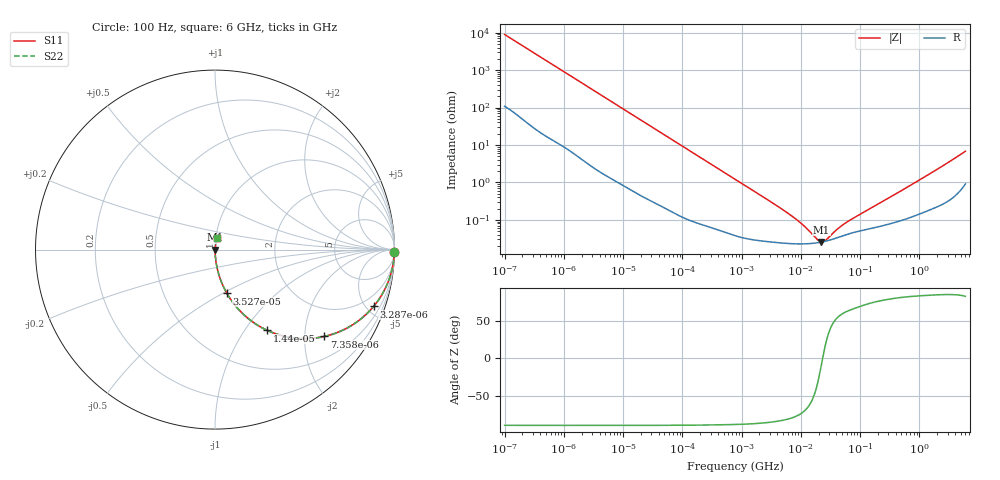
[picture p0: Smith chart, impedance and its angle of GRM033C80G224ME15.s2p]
!Murata Part Number: GRM033C80G224ME15
!These Parameters are Measured in Series Mode Connection
!Data Generated on Mar 30, 2021
!  o--ll--o
!Port1  Port2
!  o------o
!Operation Temp=25[degC], DC Bias Voltage=0[V]
!Freq. Start=100[Hz] Stop=6[GHz] 401[Steps]
# Hz S RI R 50
!Freq.(Hz) S11(Real) S11(Imag) S21(Real) S21(Imag) S12(Real) S12(Imag) S22(Real) S22(Imag)
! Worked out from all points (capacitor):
!   401 points, 100 Hz to 6 GHz, reference 50 ohm
!   read as one part in series: C = 177 nF near 109 Hz
!   lowest |Z| = 25.8 mohm at 22.26 MHz (marker M1)
!   series resonance near 23.37 MHz, so ESL is about 260 pH
!   S11 on the Smith chart (normalised r, x): 100 Hz: open; 3.287 kHz: 1.05, -5.56; 7.358 kHz: 1.02, -2.49; 14.4 kHz: 1.01, -1.28; 35.27 kHz: 1.01, -0.53; 6 GHz: 1.02, +0.13
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100  0.9997 -0.0112  0.00026 0.0112  0.00026 0.0112  0.9997 -0.0112
600  0.995 -0.0659  0.00499 0.0659  0.00499 0.0659  0.995 -0.0659
2008  0.9521 -0.2092  0.0479 0.2092  0.0479 0.2092  0.9521 -0.2092
3287  0.8835 -0.3166  0.1165 0.3166  0.1165 0.3166  0.8835 -0.3166
4918  0.7744 -0.4138  0.2256 0.4138  0.2256 0.4138  0.7744 -0.4138
7358  0.6079 -0.4839  0.3921 0.4839  0.3921 0.4839  0.6079 -0.4839
14402  0.2921 -0.4502  0.7079 0.4502  0.7079 0.4502  0.2921 -0.4502
22537  0.1462 -0.3485  0.8538 0.3485  0.8538 0.3485  0.1462 -0.3485
35265  0.0667 -0.2443  0.9333 0.2443  0.9333 0.2443  0.0667 -0.2443
40335  0.0523 -0.2172  0.9477 0.2172  0.9477 0.2172  0.0523 -0.2172
129199  0.00616 -0.0717  0.9938 0.0717  0.9938 0.0717  0.00616 -0.0717
774597  0.000526 -0.0122  0.9995 0.0122  0.9995 0.0122  0.000526 -0.0122
6353432  0.000234 -0.00141  0.9998 0.00141  0.9998 0.00141  0.000234 -0.00141
1.039699e7  0.000228 -0.000745  0.9998 0.000745  0.9998 0.000745  0.000228 -0.000745
1.555665e7  0.000235 -0.000343  0.9998 0.000343  0.9998 0.000343  0.000235 -0.000343
1.946e7  0.000245 -0.00015  0.9998 0.00015  0.9998 0.00015  0.000245 -0.00015
2.225763e7  0.000255 -3.93e-05  0.9997 3.93e-05  0.9997 3.93e-05  0.000255 -3.93e-05
2.662322e7  0.000271 0.000104  0.9997 -0.000104  0.9997 -0.000104  0.000271 0.000104
4.165952e7  0.000334 0.000461  0.9997 -0.000461  0.9997 -0.000461  0.000334 0.000461
5.960426e7  0.000405 0.000765  0.9996 -0.000765  0.9996 -0.000765  0.000405 0.000765
3.124326e8  0.00079 0.00383  0.9992 -0.00383  0.9992 -0.00383  0.00079 0.00383
6e9  0.0134 0.0658  0.9866 -0.0658  0.9866 -0.0658  0.0134 0.0658
